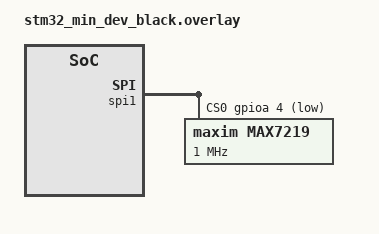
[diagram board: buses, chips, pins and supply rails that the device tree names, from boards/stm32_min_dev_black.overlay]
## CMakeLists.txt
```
# SPDX-License-Identifier: Apache-2.0

cmake_minimum_required(VERSION 3.20.0)

find_package(Zephyr HINTS $ENV{ZEPHYR_BASE})
project(led_max7219)

FILE(GLOB app_sources src/*.c)
target_sources(app PRIVATE ${app_sources})
```

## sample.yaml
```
sample:
  description: Demonstration of the MAX7219 LED driver
  name: MAX7219 sample
tests:
  sample.drivers.led.max7219:
    platform_allow: stm32_min_dev_black
    filter: dt_compat_enabled("maxim,max7219")
    tags: LED
```

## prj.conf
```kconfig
CONFIG_LED=y
CONFIG_LOG=y
CONFIG_MAX7219=y
CONFIG_SPI=y
```

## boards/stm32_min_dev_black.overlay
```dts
&spi1 {
	status = "okay";
	cs-gpios = <&gpioa 4 GPIO_ACTIVE_LOW>;

	max7219: max7219@0 {
		compatible = "maxim,max7219";
		status = "okay";
		label = "MAX7219";
		reg = <0>;
		spi-max-frequency = <1000000>;
		num-cascading = <1>;
		intensity = <0>;
		scan-limit = <7>;
	};
};
```

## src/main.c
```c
/*
 * Copyright (c) 2022 Jimmy Ou <yanagiis@gmail.com>
 * Copyright (c) 2018 Linaro Limited
 *
 * SPDX-License-Identifier: Apache-2.0
 */

#include <zephyr/device.h>
#include <zephyr/drivers/led.h>
#include <zephyr/logging/log.h>
#include <zephyr/sys/util.h>
#include <zephyr/zephyr.h>
LOG_MODULE_REGISTER(app);

#define NUM_LEDS 64

#define DELAY_TIME K_MSEC(1000)

void main(void)
{
	const struct device *led_dev = DEVICE_DT_GET_ONE(maxim_max7219);
	int i, ret;

	if (!device_is_ready(led_dev)) {
		LOG_ERR("LED device %s not ready", led_dev->name);
		return;
	}

	/*
	 * Display a continuous pattern that turns on 64 LEDs at 1s one by
	 * one until it reaches the end and turns off LEDs in reverse order.
	 */

	LOG_INF("Displaying the pattern");

	while (1) {
		/* Turn on LEDs one by one */
		for (i = 0; i < NUM_LEDS; i++) {
			ret = led_on(led_dev, i);
			if (ret < 0) {
				return;
			}

			k_sleep(DELAY_TIME);
		}

		/* Turn off LEDs one by one */
		for (i = NUM_LEDS - 1; i >= 0; i--) {
			ret = led_off(led_dev, i);
			if (ret < 0) {
				return;
			}

			k_sleep(DELAY_TIME);
		}
	}
}
```
